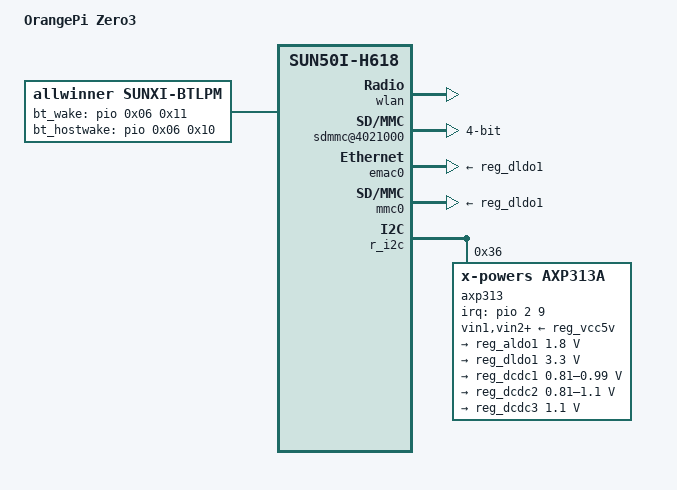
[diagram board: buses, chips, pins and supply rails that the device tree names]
// SPDX-License-Identifier: (GPL-2.0+ or MIT)
/*
 * Copyright (C) 2023 Arm Ltd.
 */

/dts-v1/;
#include "../../../../../drivers/clk/sunxi-ng/ccu-sun50i-h616.h"
#include "sun50i-h616-orangepi-zero.dtsi"

/ {
	model = "OrangePi Zero3";
	compatible = "xunlong,orangepi-zero3", "allwinner,sun50i-h618";

	soc {
		rfkill {
			compatible = "allwinner,sunxi-rfkill";
			status = "okay";
			chip_en;
			power_en;
			pinctrl-0;
			pinctrl-names;
			clocks;

			wlan {
				compatible = "allwinner,sunxi-wlan";
				wlan_busnum = <0x01>;
				wlan_power;
				/*SOC pad: PG18, 20U5622 pad: RST_N - PIN12*/
				wlan_regon    = <&pio 0x06 0x12 GPIO_ACTIVE_HIGH>;
				/*SOC pad: PG15, 20U5622 pad: GPIO1 - PIN13*/
				wlan_hostwake = <&pio 0x06 0x0f GPIO_ACTIVE_HIGH>;
				wakeup-source;
			};

			bt {
				compatible = "allwinner,sunxi-bt";
				bt_power;
				/*SOC pad: PG19, 20U5622: NC - PIN 34*/
				bt_rst_n = <&pio 0x06 0x13 GPIO_ACTIVE_LOW>;
			};
		};

		btlpm {
			compatible = "allwinner,sunxi-btlpm";
			status = "okay";
			uart_index = <0x01>;
			/*SOC pad: PG17, 20U5622: CHIP_EN - PIN6*/
			bt_wake     = <&pio 0x06 0x11 GPIO_ACTIVE_HIGH>;
			/*SOC pad: PG16, 20U5622: INT - PIN7*/
			bt_hostwake = <&pio 0x06 0x10 GPIO_ACTIVE_HIGH>;
			wakeup-source;
		};

		sdmmc@4021000 {
			compatible  = "allwinner,sunxi-mmc-v4p1x";
			device_type = "sdc1";
			reg         = <0x4021000 0x1000>;
			interrupts  = <GIC_SPI 0x24 IRQ_TYPE_LEVEL_HIGH>;
			/*osc24m CLK_PLL_PERIPH1_2X CLK_MMC1 CLK_BUS_MMC1*/
			clocks      = 	<&osc24M>,
					<&ccu CLK_PLL_PERIPH1_2X>,
					<&ccu CLK_MMC1>, <&ccu CLK_BUS_MMC1>;
			clock-names = "osc24m\0pll_periph\0mmc\0ahb";
			/* CLK_PLL_VE */
			resets      = <&ccu CLK_PLL_VE>;
			reset-names = "rst";
			pinctrl-names = "default";
			pinctrl-0 = <&mmc1_pins>;
			max-frequency = <0x8f0d180>;
			bus-width = <0x04>;
			ctl-spec-caps = <0x08>;
			cap-sd-highspeed;
			no-mmc;
			keep-power-in-suspend;
			sunxi-dly-52M-ddr4 = <0x01 0x00 0x00 0x00 0x02>;
			sunxi-dly-104M     = <0x01 0x00 0x00 0x00 0x01>;
			sunxi-dly-208M     = <0x01 0x00 0x00 0x00 0x01>;
			status = "okay";
			no-sd;
			sd-uhs-sdr12;
			sd-uhs-sdr25;
			sd-uhs-sdr50;
			sd-uhs-ddr50;
			sd-uhs-sdr104;
			sunxi-dis-signal-vol-sw;
			cap-sdio-irq;
			ignore-pm-notify;
			vqmmc-supply = <&reg_dldo1>;
		};
	};
};

&emac0 {
	phy-supply = <&reg_dldo1>;
};

&ext_rgmii_phy {
	motorcomm,clk-out-frequency-hz = <125000000>;
};

&mmc0 {
	/*
	 * The schematic shows the card detect pin wired up to PF6, via an
	 * inverter, but it just doesn't work.
	 */
	broken-cd;
	vmmc-supply = <&reg_dldo1>;
};



&mmc1 {
	status = "disabled";
};

&r_i2c {
	status = "okay";

	axp313: pmic@36 {
		compatible = "x-powers,axp313a";
		reg = <0x36>;
		#interrupt-cells = <1>;
		interrupt-controller;
		interrupt-parent = <&pio>;
		interrupts = <2 9 IRQ_TYPE_LEVEL_LOW>;	/* PC9 */

		vin1-supply = <&reg_vcc5v>;
		vin2-supply = <&reg_vcc5v>;
		vin3-supply = <&reg_vcc5v>;

		regulators {
			/* Supplies VCC-PLL, so needs to be always on. */
			reg_aldo1: aldo1 {
				regulator-always-on;
				regulator-min-microvolt = <1800000>;
				regulator-max-microvolt = <1800000>;
				regulator-name = "vcc1v8";
			};

			/* Supplies VCC-IO, so needs to be always on. */
			reg_dldo1: dldo1 {
				regulator-always-on;
				regulator-min-microvolt = <3300000>;
				regulator-max-microvolt = <3300000>;
				regulator-name = "vcc3v3";
			};

			reg_dcdc1: dcdc1 {
				regulator-always-on;
				regulator-min-microvolt = <810000>;
				regulator-max-microvolt = <990000>;
				regulator-name = "vdd-gpu-sys";
			};

			reg_dcdc2: dcdc2 {
				regulator-always-on;
				regulator-min-microvolt = <810000>;
				regulator-max-microvolt = <1100000>;
				regulator-name = "vdd-cpu";
			};

			reg_dcdc3: dcdc3 {
				regulator-always-on;
				regulator-min-microvolt = <1100000>;
				regulator-max-microvolt = <1100000>;
				regulator-name = "vdd-dram";
			};
		};
	};
};

&pio {
	vcc-pc-supply = <&reg_dldo1>;
	vcc-pf-supply = <&reg_dldo1>;
	vcc-pg-supply = <&reg_aldo1>;
	vcc-ph-supply = <&reg_dldo1>;
	vcc-pi-supply = <&reg_dldo1>;
};
